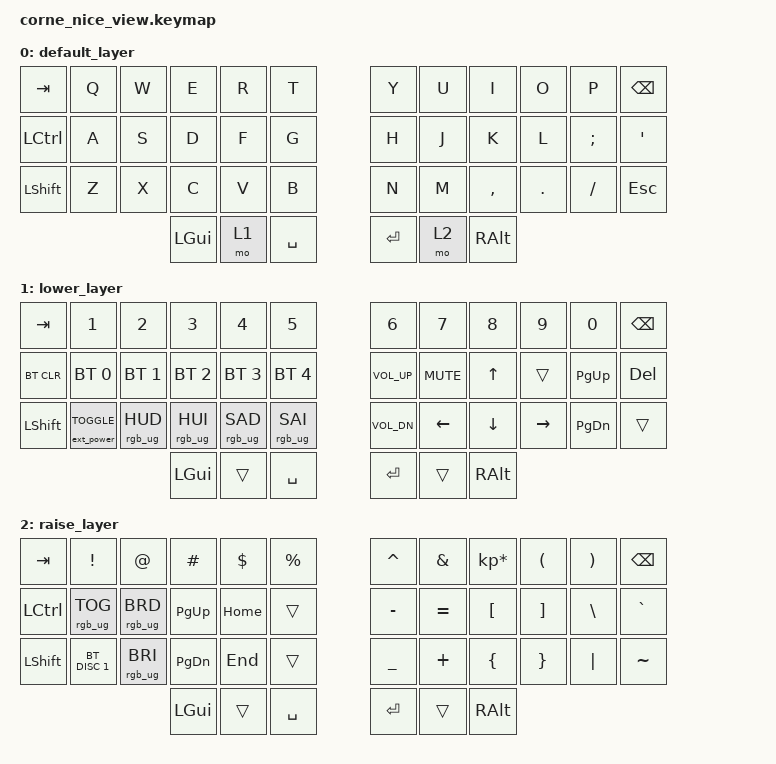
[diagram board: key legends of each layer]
/*
 * Copyright (c) 2020 The ZMK Contributors
 *
 * SPDX-License-Identifier: MIT
 */

#include <behaviors.dtsi>
#include <dt-bindings/zmk/keys.h>
#include <dt-bindings/zmk/bt.h>
#include <dt-bindings/zmk/rgb.h>
#include <dt-bindings/zmk/ext_power.h>

/ {
        keymap {
                compatible = "zmk,keymap";

                default_layer {
// -----------------------------------------------------------------------------------------
// |  TAB |  Q  |  W  |  E  |  R  |  T  |   |  Y  |  U   |  I  |  O  |  P  | BKSP |
// | CTRL |  A  |  S  |  D  |  F  |  G  |   |  H  |  J   |  K  |  L  |  ;  |  '   |
// | SHFT |  Z  |  X  |  C  |  V  |  B  |   |  N  |  M   |  ,  |  .  |  /  | ESC  |
//                    | GUI | LWR | SPC |   | ENT | RSE  | ALT |
                        bindings = <
   &kp TAB   &kp Q &kp W &kp E &kp R &kp T   &kp Y &kp U  &kp I     &kp O   &kp P    &kp BSPC
   &kp LCTRL &kp A &kp S &kp D &kp F &kp G   &kp H &kp J  &kp K     &kp L   &kp SEMI &kp SQT
   &kp LSHFT &kp Z &kp X &kp C &kp V &kp B   &kp N &kp M  &kp COMMA &kp DOT &kp FSLH &kp ESC
                  &kp LGUI &mo 1 &kp SPACE   &kp RET &mo 2 &kp RALT
                        >;
                };
                lower_layer {
// -----------------------------------------------------------------------------------------
// |  TAB |  1  |  2  |  3  |  4  |  5  |   |  6  |  7  |  8  |  9  |  0  | BKSP |
// | BTCLR| BT1 | BT2 | BT3 | BT4 | BT5 |   |VOLUP| MUTE|  UP |     |PG UP| DEL  |
// | SHFT |PWRTG| HUD | HUI | SAD | SAI |   |VOLDN| LFT | DWN | RGT |PG DN|      |
//                    | GUI |     | SPC |   | ENT |     | ALT |
                        bindings = <
   &kp TAB    &kp N1       &kp N2       &kp N3       &kp N4       &kp N5         &kp N6   &kp N7   &kp N8 &kp N9      &kp N0 &kp BSPC
   &bt BT_CLR &bt BT_SEL 0 &bt BT_SEL 1 &bt BT_SEL 2 &bt BT_SEL 3 &bt BT_SEL 4   &kp C_VOL_UP &kp C_MUTE &kp UP       &trans     &kp PG_UP &kp DEL
   &kp LSHFT  &ext_power EXT_POWER_TOGGLE_CMD &rgb_ug RGB_HUD &rgb_ug RGB_HUI &rgb_ug RGB_SAD &rgb_ug RGB_SAI         &kp C_VOL_DN &kp LEFT   &kp DOWN  &kp RIGHT  &kp PG_DN &trans
                                    &kp LGUI     &trans       &kp SPACE      &kp RET  &trans   &kp RALT
                        >;
                };

                raise_layer {
// -----------------------------------------------------------------------------------------
// |  TAB |  !  |  @  |  #  |  $  |  %  |   |  ^  |  &  |  *  |  (  |  )  | BKSP |
// | CTRL |     |     |PG UP| HOME|     |   |  -  |  =  |  [  |  ]  |  \  |  `   |
// | SHFT |     |     |PG DN| END |     |   |  _  |  +  |  {  |  }  | "|" |  ~   |
//                    | GUI |     | SPC |   | ENT |     | ALT |
                        bindings = <
   &kp  TAB  &kp EXCL &kp AT &kp HASH &kp DLLR &kp PRCNT       &kp CARET &kp AMPS  &kp KP_MULTIPLY &kp LPAR &kp RPAR &kp BSPC
   &kp LCTRL &rgb_ug RGB_TOG   &rgb_ug RGB_BRD &kp PG_UP   &kp HOME     &trans        &kp MINUS &kp EQUAL &kp LBKT        &kp RBKT &kp BSLH &kp GRAVE
   &kp LSHFT &bt BT_DISC 1   &rgb_ug RGB_BRI &kp PG_DN   &kp END  &trans         &kp UNDER &kp PLUS  &kp LBRC        &kp RBRC &kp PIPE &kp TILDE
                             &kp LGUI &trans   &kp SPACE       &kp RET   &trans    &kp RALT
                        >;
                };
        };
};
